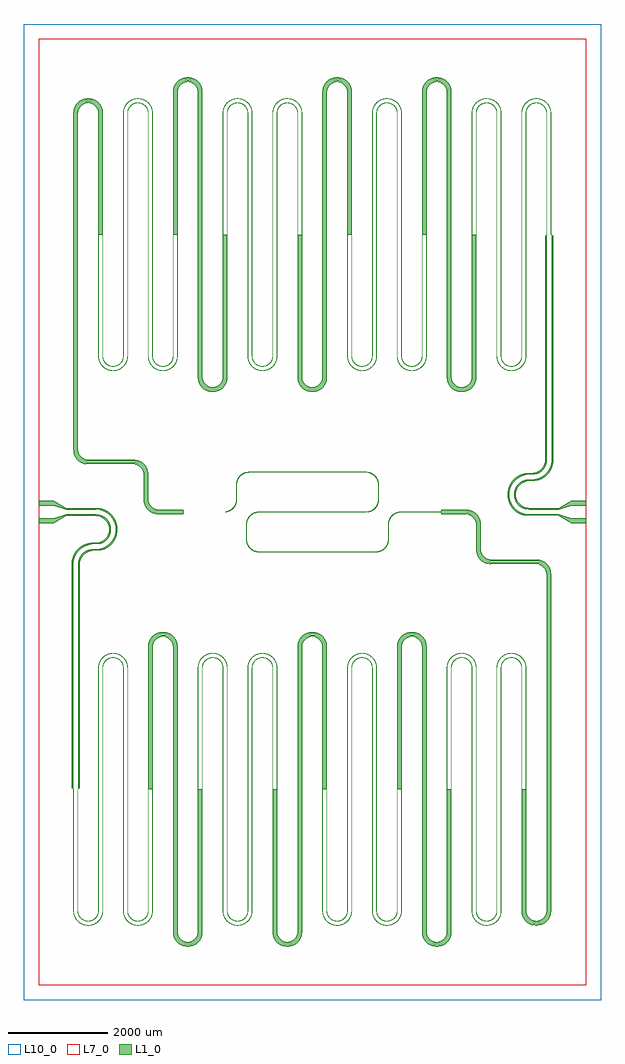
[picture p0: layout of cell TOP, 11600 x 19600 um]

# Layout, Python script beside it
import klayout.db as pya
from zeropdk.layout import layout_box
from zeropdk.layout import layout_waveguide
from zeropdk.layout import bezier_optimal
from zeropdk.layout.waveguide_rounding import layout_waveguide_from_points
import numpy as np

layout = pya.Layout()
layout.dbu = 1
TOP = layout.create_cell("TOP")

workingLayer =  pya.LayerInfo(4,0)   
chipBorder = pya.LayerInfo(7,0)
maskBorder = pya.LayerInfo(10,0)
outputLayer = pya.LayerInfo(1,0)
sourceLayer = pya.LayerInfo(3,0)
portsLayer = pya.LayerInfo(2,0)

ex = pya.DVector(1,0)
ey = pya.DVector(0,1)

upperRegion = pya.Region()
lowerRegion = pya.Region()
feedlineRegion = pya.Region()
lowZRegion = pya.Region()
highZRegion = pya.Region()

#insert chip/mask border
chipWidth = 11000
chipLength = 19000
layout_box(TOP, chipBorder, -chipLength/2*ey, chipWidth*ex + chipLength/2*ey, ex)

maskWidth = 11600
maskHeight = 19600
layout_box(TOP, maskBorder, -300*ex - maskHeight/2*ey, (chipWidth+300)*ex + maskHeight/2*ey, ex)

upperWGBondPadHeight = 450
upperWGBondPadLength = 300
lowerWGBondPadHeight = upperWGBondPadHeight - 200
lowerWGBondPadLength = upperWGBondPadLength
upperRegionFeedlineWidth = 160
lowerRegionFeedlineWidth = 100
introFeedlineLength = 600
feedlineBendRadius = 350

#creating bond pad boxed on left
upperRegion.insert(layout_box(TOP, workingLayer, -(upperWGBondPadHeight/2)*ey, (upperWGBondPadLength)*ex + (upperWGBondPadHeight/2)*ey, ex))
lowerRegion.insert(layout_box(TOP, workingLayer, -(lowerWGBondPadHeight/2)*ey, (lowerWGBondPadLength)*ex + (lowerWGBondPadHeight/2)*ey, ex))
deltaY = 0
#-------------------------------------BEGIN FEED LINE-------------------------------------------------------------------------------------------#

#bond pad tapers
taperPoints = [300*ex, 425*ex, 550*ex]
upperTaperWidths = [450, 305, 160]
lowerTaperWidths = [250, 175, 100]
upperRegion.insert(layout_waveguide(TOP, workingLayer, taperPoints, upperTaperWidths))
lowerRegion.insert(layout_waveguide(TOP, workingLayer, taperPoints, lowerTaperWidths))

#CPW straight to first bend
upperRegion.insert(layout_waveguide(TOP, workingLayer, [550*ex, (550 + introFeedlineLength)*ex], upperRegionFeedlineWidth))
lowerRegion.insert(layout_waveguide(TOP, workingLayer, [550*ex, (550 + introFeedlineLength)*ex], lowerRegionFeedlineWidth))

#CPW bend on feedline
arcCoord1 = (550+introFeedlineLength) * ex
arcCoord2 = arcCoord1 - 2*feedlineBendRadius*ey
bendPoints = [arcCoord1, arcCoord1 + feedlineBendRadius*ex, arcCoord2 + feedlineBendRadius*ex, arcCoord2] 
upperRegion.insert(layout_waveguide_from_points(TOP, workingLayer, bendPoints, upperRegionFeedlineWidth, feedlineBendRadius))
lowerRegion.insert(layout_waveguide_from_points(TOP, workingLayer, bendPoints, lowerRegionFeedlineWidth, feedlineBendRadius))
deltaY = deltaY + 2*feedlineBendRadius

#CPW straight after 1st bend
upperRegion.insert(layout_waveguide(TOP, workingLayer, [arcCoord2, arcCoord2-55*ex], upperRegionFeedlineWidth))
lowerRegion.insert(layout_waveguide(TOP, workingLayer, [arcCoord2, arcCoord2-55*ex], lowerRegionFeedlineWidth))

#2nd CPW bend
bendEndPoint = arcCoord2-55*ex-(feedlineBendRadius*ex)-feedlineBendRadius*ey
bendPoints = [arcCoord2-55*ex, arcCoord2-55*ex-(feedlineBendRadius*ex), bendEndPoint]
upperRegion.insert(layout_waveguide_from_points(TOP, workingLayer, bendPoints, upperRegionFeedlineWidth, feedlineBendRadius))
lowerRegion.insert(layout_waveguide_from_points(TOP, workingLayer, bendPoints, lowerRegionFeedlineWidth, feedlineBendRadius))
deltaY = deltaY + feedlineBendRadius

#end feedline with straight
upperRegion.insert(layout_waveguide(TOP, workingLayer, [bendEndPoint, bendEndPoint-4500*ey], upperRegionFeedlineWidth, feedlineBendRadius))
lowerRegion.insert(layout_waveguide(TOP, workingLayer, [bendEndPoint, bendEndPoint-4500*ey], lowerRegionFeedlineWidth, feedlineBendRadius))
feedlineEndPoint = bendEndPoint - 4500*ey
deltaY = deltaY + 4500

#Bragg mirrors
braggPinW = 80
braggNegW = 5
upperRegionBraggPinW = 80 + (2*5)
lowerRegionBraggPinW = 80
braggTaperLength = 20

#taper to Bragg mirror
taperPoints = [feedlineEndPoint, feedlineEndPoint - 10*ey, feedlineEndPoint - 20*ey]
upperTaperWidths = [160, 125, 90]
lowerTaperWidths = [lowerRegionFeedlineWidth, 90, 80]
upperRegion.insert(layout_waveguide(TOP, workingLayer, taperPoints, upperTaperWidths))
lowerRegion.insert(layout_waveguide(TOP, workingLayer, taperPoints, lowerTaperWidths))
deltaY = deltaY + 20

feedlineRegion = upperRegion - lowerRegion

#-----END FEEDLINE, BEGIN 1ST LOW Z PERIOD------------------------------------------------------------------------------------------------------------------#

#intro low Z period
lowZLength = 16993.4 #why?
braggBendRadius = 250
lowZStraightLength = lowZLength/3 - np.pi*braggBendRadius
highZLength = 13020.7
highZStraightLength = highZLength/2 - np.pi*braggBendRadius
introLowZBegin = feedlineEndPoint - (20*ey) - (lowZStraightLength/2*ey)
upperRegion.insert(layout_waveguide(TOP, workingLayer, [feedlineEndPoint - 20 * ey, feedlineEndPoint - (20*ey) - (lowZStraightLength/2*ey)], upperRegionBraggPinW))
lowerRegion.insert(layout_waveguide(TOP, workingLayer, [feedlineEndPoint - 20*ey, feedlineEndPoint - (20*ey) - (lowZStraightLength/2*ey)], lowerRegionBraggPinW))

#1st low Z bend
introLowZEnd = introLowZBegin + 2*braggBendRadius*ex
bendPoints = [introLowZBegin, introLowZBegin - braggBendRadius*ey, introLowZEnd - braggBendRadius*ey, introLowZEnd]
upperRegion.insert(layout_waveguide_from_points(TOP, workingLayer, bendPoints, upperRegionBraggPinW, braggBendRadius))
lowerRegion.insert(layout_waveguide_from_points(TOP, workingLayer, bendPoints, lowerRegionBraggPinW, braggBendRadius))
upperRegion.insert(layout_waveguide(TOP, workingLayer, [introLowZEnd, introLowZEnd + lowZStraightLength*ey], upperRegionBraggPinW))
lowerRegion.insert(layout_waveguide(TOP, workingLayer, [introLowZEnd, introLowZEnd + lowZStraightLength*ey], lowerRegionBraggPinW))

#2nd low Z bend
secondLowZBendBegin = introLowZEnd + lowZStraightLength * ey
secondLowZBendEnd = secondLowZBendBegin + 2*braggBendRadius * ex
bendPoints = [secondLowZBendBegin, secondLowZBendBegin + braggBendRadius*ey, secondLowZBendEnd+braggBendRadius*ey, secondLowZBendEnd]
upperRegion.insert(layout_waveguide_from_points(TOP, workingLayer, bendPoints, upperRegionBraggPinW, braggBendRadius))
lowerRegion.insert(layout_waveguide_from_points(TOP, workingLayer, bendPoints, lowerRegionBraggPinW, braggBendRadius))
upperRegion.insert(layout_waveguide(TOP, workingLayer, [secondLowZBendEnd, secondLowZBendEnd - lowZStraightLength*ey], upperRegionBraggPinW))
lowerRegion.insert(layout_waveguide(TOP, workingLayer, [secondLowZBendEnd, secondLowZBendEnd - lowZStraightLength*ey], lowerRegionBraggPinW))

#3rd low Z bend
thirdLowZBendBegin = introLowZEnd + 2*braggBendRadius*ex
thirdLowZBendEnd = thirdLowZBendBegin + 2*braggBendRadius*ex
bendPoints = [thirdLowZBendBegin, thirdLowZBendBegin - braggBendRadius*ey, thirdLowZBendEnd - braggBendRadius*ey, thirdLowZBendEnd]
upperRegion.insert(layout_waveguide_from_points(TOP, workingLayer, bendPoints, upperRegionBraggPinW, braggBendRadius))
lowerRegion.insert(layout_waveguide_from_points(TOP, workingLayer, bendPoints, lowerRegionBraggPinW, braggBendRadius))
upperRegion.insert(layout_waveguide(TOP, workingLayer, [thirdLowZBendEnd, thirdLowZBendEnd + (lowZStraightLength/2*ey)], upperRegionBraggPinW))
lowerRegion.insert(layout_waveguide(TOP, workingLayer, [thirdLowZBendEnd, thirdLowZBendEnd + (lowZStraightLength/2*ey)], lowerRegionBraggPinW))

lowZBraggRegion = upperRegion-lowerRegion-feedlineRegion

#-----------------------END 1ST LOW Z, BEGIN 1ST HIGH Z PERIOD---------------------------------------------------------------------------------------------#

#1st high Z region
firstHighZBegin = thirdLowZBendEnd + (lowZStraightLength/2*ey)
firstHighZBendBegin = firstHighZBegin + highZStraightLength/2*ey
firstHighZBendEnd = firstHighZBendBegin + 2*braggBendRadius*ex
highZNegW = 10
upperRegion.insert(layout_waveguide(TOP, workingLayer, [firstHighZBegin, firstHighZBendBegin], upperRegionBraggPinW))
lowerRegion.insert(layout_waveguide(TOP, workingLayer, [firstHighZBegin, firstHighZBendBegin], highZNegW))
bendPoints = [firstHighZBendBegin, firstHighZBendBegin + braggBendRadius*ey, firstHighZBendEnd + braggBendRadius*ey, firstHighZBendEnd]
upperRegion.insert(layout_waveguide_from_points(TOP, workingLayer, bendPoints, upperRegionBraggPinW, braggBendRadius))
lowerRegion.insert(layout_waveguide_from_points(TOP, workingLayer, bendPoints, highZNegW, braggBendRadius))
secondHighZBendBegin = firstHighZBendEnd - highZStraightLength*ey
upperRegion.insert(layout_waveguide(TOP, workingLayer, [firstHighZBendEnd, secondHighZBendBegin], upperRegionBraggPinW))
lowerRegion.insert(layout_waveguide(TOP, workingLayer, [firstHighZBendEnd, secondHighZBendBegin], highZNegW))
secondHighZBendEnd = secondHighZBendBegin + 2*braggBendRadius*ex
bendPoints = [secondHighZBendBegin, secondHighZBendBegin - braggBendRadius*ey, secondHighZBendEnd - braggBendRadius*ey, secondHighZBendEnd]
upperRegion.insert(layout_waveguide_from_points(TOP, workingLayer, bendPoints, upperRegionBraggPinW, braggBendRadius))
lowerRegion.insert(layout_waveguide_from_points(TOP, workingLayer, bendPoints, highZNegW, braggBendRadius))
firstHighZRegionEnd = secondHighZBendEnd + highZStraightLength/2*ey
upperRegion.insert(layout_waveguide(TOP, workingLayer, [secondHighZBendEnd, firstHighZRegionEnd], upperRegionBraggPinW))
lowerRegion.insert(layout_waveguide(TOP, workingLayer, [secondHighZBendEnd, firstHighZRegionEnd], highZNegW))

highZBraggRegion = upperRegion-lowerRegion-feedlineRegion-lowZBraggRegion

#end of Bragg - cavity feedline
highZHoriz = 911
highZVert = 4320
highZAdjust = 2413+25
highZEndVert = 500

cavityFeedBegin = feedlineEndPoint - (20*ey) + 36*braggBendRadius*ex
cavityFeedBendBegin = cavityFeedBegin - lowZStraightLength/2*ey
cavityFeedBendEnd = cavityFeedBendBegin + 2*braggBendRadius*ex
bendPoints = [cavityFeedBendBegin, cavityFeedBendBegin - braggBendRadius*ey, cavityFeedBendEnd - braggBendRadius*ey, cavityFeedBendEnd]
upperRegion.insert(layout_waveguide(TOP, workingLayer, [cavityFeedBegin, cavityFeedBendBegin], upperRegionBraggPinW))
lowerRegion.insert(layout_waveguide(TOP, workingLayer, [cavityFeedBegin, cavityFeedBendBegin], highZNegW))
upperRegion.insert(layout_waveguide_from_points(TOP, workingLayer, bendPoints, upperRegionBraggPinW, braggBendRadius))
lowerRegion.insert(layout_waveguide_from_points(TOP, workingLayer, bendPoints, highZNegW, braggBendRadius))
cavityFeedStraightEnd = cavityFeedBendEnd + (highZVert + highZAdjust)*ey
upperRegion.insert(layout_waveguide(TOP, workingLayer, [cavityFeedBendEnd, cavityFeedStraightEnd], upperRegionBraggPinW))
lowerRegion.insert(layout_waveguide(TOP, workingLayer, [cavityFeedBendEnd, cavityFeedStraightEnd], highZNegW))

cavityFeedFirstBendEnd = cavityFeedStraightEnd - braggBendRadius*ex + braggBendRadius*ey
bendPoints = [cavityFeedStraightEnd, cavityFeedStraightEnd + braggBendRadius*ey, cavityFeedFirstBendEnd]
upperRegion.insert(layout_waveguide_from_points(TOP, workingLayer, bendPoints, upperRegionBraggPinW, braggBendRadius))
lowerRegion.insert(layout_waveguide_from_points(TOP, workingLayer, bendPoints, highZNegW, braggBendRadius))

secondBendCavityBegin = cavityFeedFirstBendEnd - highZHoriz*ex
secondBendCavityEnd = secondBendCavityBegin - braggBendRadius*ex + braggBendRadius*ey
bendPoints = [secondBendCavityBegin, secondBendCavityBegin - braggBendRadius*ex, secondBendCavityEnd]
upperRegion.insert(layout_waveguide(TOP, workingLayer, [cavityFeedFirstBendEnd, secondBendCavityBegin], upperRegionBraggPinW))
lowerRegion.insert(layout_waveguide(TOP, workingLayer, [cavityFeedFirstBendEnd, secondBendCavityBegin], highZNegW))
upperRegion.insert(layout_waveguide_from_points(TOP, workingLayer, bendPoints, upperRegionBraggPinW, braggBendRadius))
lowerRegion.insert(layout_waveguide_from_points(TOP, workingLayer, bendPoints, highZNegW, braggBendRadius))

vertStraightEnd = secondBendCavityEnd + highZEndVert*ey
upperRegion.insert(layout_waveguide(TOP, workingLayer, [secondBendCavityEnd, vertStraightEnd], upperRegionBraggPinW))
lowerRegion.insert(layout_waveguide(TOP, workingLayer, [secondBendCavityEnd, vertStraightEnd], highZNegW))

thirdBendEnd = vertStraightEnd + braggBendRadius*ey - braggBendRadius*ex
bendPoints = [vertStraightEnd, vertStraightEnd + braggBendRadius*ey, thirdBendEnd]
upperRegion.insert(layout_waveguide_from_points(TOP, workingLayer, bendPoints, upperRegionBraggPinW, braggBendRadius))
lowerRegion.insert(layout_waveguide_from_points(TOP, workingLayer, bendPoints, highZNegW, braggBendRadius))

cavityFeedlineEnd = thirdBendEnd - highZEndVert*ex
upperRegion.insert(layout_waveguide(TOP, workingLayer, [thirdBendEnd, cavityFeedlineEnd], upperRegionBraggPinW))
lowerRegion.insert(layout_waveguide(TOP, workingLayer, [thirdBendEnd, cavityFeedlineEnd], highZNegW))

#cavity to Bragg taper
taperPoints = [cavityFeedlineEnd, cavityFeedlineEnd - 5*ex]
upperTaperWidths = [upperRegionBraggPinW, 11]
lowerTaperWidths = [highZNegW, 3]
upperRegion.insert(layout_waveguide(TOP, workingLayer, taperPoints, upperTaperWidths))
lowerRegion.insert(layout_waveguide(TOP, workingLayer, taperPoints, lowerTaperWidths))

cavityFeedlineRegion = upperRegion-lowerRegion-feedlineRegion-lowZBraggRegion-highZBraggRegion

#--------------------CAVITY---------------------------------------------------------------------------------------------------------------------------------#
La = 804    #from KRoh, figure out why
Lv = 300
cavityStraightLength = 2350
Lh = 2150

cavityIntroEnd = cavityFeedlineEnd - 5*ex - La*ex
upperPinW = 11
cPinW = 3

layout_path(TOP, portsLayer, [cavityFeedlineEnd - 5*ex - 10*ey, cavityFeedlineEnd - 5*ex + 10*ey], 0)

upperRegion.insert(layout_waveguide(TOP, workingLayer, [cavityFeedlineEnd - 5*ex, cavityIntroEnd], upperPinW))
lowerRegion.insert(layout_waveguide(TOP, workingLayer, [cavityFeedlineEnd - 5*ex, cavityIntroEnd], cPinW))
bendPoints = [cavityIntroEnd, cavityIntroEnd - braggBendRadius*ex, cavityIntroEnd - braggBendRadius*ex - braggBendRadius*ey]
upperRegion.insert(layout_waveguide_from_points(TOP, workingLayer, bendPoints, upperPinW, braggBendRadius))
lowerRegion.insert(layout_waveguide_from_points(TOP, workingLayer, bendPoints, cPinW, braggBendRadius))
cavityVertEnd = cavityIntroEnd - braggBendRadius*ex - braggBendRadius*ey - Lv*ey
upperRegion.insert(layout_waveguide_from_points(TOP, workingLayer, [cavityIntroEnd - braggBendRadius*ex - braggBendRadius*ey, cavityVertEnd], upperPinW, braggBendRadius))
lowerRegion.insert(layout_waveguide_from_points(TOP, workingLayer, [cavityIntroEnd - braggBendRadius*ex - braggBendRadius*ey, cavityVertEnd], cPinW, braggBendRadius))
bendPoints = [cavityVertEnd, cavityVertEnd-braggBendRadius*ey, cavityVertEnd-braggBendRadius*ey-braggBendRadius*ex]
upperRegion.insert(layout_waveguide_from_points(TOP, workingLayer, bendPoints, upperPinW, braggBendRadius))
lowerRegion.insert(layout_waveguide_from_points(TOP, workingLayer, bendPoints, cPinW, braggBendRadius))
cavityStraightBegin = cavityVertEnd - braggBendRadius*ey-braggBendRadius*ex
cavityStraightEnd = cavityStraightBegin - cavityStraightLength*ex
upperRegion.insert(layout_waveguide(TOP, workingLayer, [cavityStraightBegin, cavityStraightEnd], upperPinW))
lowerRegion.insert(layout_waveguide(TOP, workingLayer, [cavityStraightBegin, cavityStraightEnd], cPinW))
bendPoints = [cavityStraightEnd, cavityStraightEnd - braggBendRadius*ex, cavityStraightEnd - braggBendRadius*ex + braggBendRadius*ey]
upperRegion.insert(layout_waveguide_from_points(TOP, workingLayer, bendPoints, upperPinW, braggBendRadius))
lowerRegion.insert(layout_waveguide_from_points(TOP, workingLayer, bendPoints, cPinW, braggBendRadius))
cavityStraightBegin = cavityStraightEnd - braggBendRadius*ex + braggBendRadius*ey
cavityStraightEnd = cavityStraightBegin + Lv*ey
upperRegion.insert(layout_waveguide(TOP, workingLayer, [cavityStraightBegin, cavityStraightEnd], upperPinW))
lowerRegion.insert(layout_waveguide(TOP, workingLayer, [cavityStraightBegin, cavityStraightEnd], cPinW))
bendPoints = [cavityStraightEnd, cavityStraightEnd + braggBendRadius*ey, cavityStraightEnd + braggBendRadius*ex + braggBendRadius*ey]
upperRegion.insert(layout_waveguide_from_points(TOP, workingLayer, bendPoints, upperPinW, braggBendRadius))
lowerRegion.insert(layout_waveguide_from_points(TOP, workingLayer, bendPoints, cPinW, braggBendRadius))

cavityHorizBegin = cavityStraightEnd + braggBendRadius*ex + braggBendRadius*ey
cavityHorizEnd = cavityHorizBegin + Lh*ex
upperRegion.insert(layout_waveguide(TOP, workingLayer, [cavityHorizBegin, cavityHorizEnd], upperPinW)) 
lowerRegion.insert(layout_waveguide(TOP, workingLayer, [cavityHorizBegin, cavityHorizEnd], cPinW))

cavityStraightBegin = cavityHorizEnd + braggBendRadius*ex + braggBendRadius*ey
bendPoints = [cavityHorizEnd, cavityHorizEnd + braggBendRadius*ex, cavityStraightBegin]
upperRegion.insert(layout_waveguide_from_points(TOP, workingLayer, bendPoints, upperPinW, braggBendRadius))
lowerRegion.insert(layout_waveguide_from_points(TOP, workingLayer, bendPoints, cPinW, braggBendRadius))

cavityStraightEnd = cavityStraightBegin + Lv*ey
upperRegion.insert(layout_waveguide(TOP, workingLayer, [cavityStraightBegin, cavityStraightEnd], upperPinW))
lowerRegion.insert(layout_waveguide(TOP, workingLayer, [cavityStraightBegin, cavityStraightEnd], cPinW))

cavityStraightBegin = cavityStraightEnd + braggBendRadius*ey - braggBendRadius*ex
bendPoints = [cavityStraightEnd, cavityStraightEnd + braggBendRadius*ey, cavityStraightBegin]
upperRegion.insert(layout_waveguide_from_points(TOP, workingLayer, bendPoints, upperPinW, braggBendRadius))
lowerRegion.insert(layout_waveguide_from_points(TOP, workingLayer, bendPoints, cPinW, braggBendRadius))

cavityStraightEnd = cavityStraightBegin - cavityStraightLength*ex
upperRegion.insert(layout_waveguide(TOP, workingLayer, [cavityStraightBegin, cavityStraightEnd], upperPinW))
lowerRegion.insert(layout_waveguide(TOP, workingLayer, [cavityStraightBegin, cavityStraightEnd], cPinW))

cavityStraightBegin = cavityStraightEnd - braggBendRadius*ex - braggBendRadius*ey
bendPoints = [cavityStraightEnd, cavityStraightEnd - braggBendRadius*ex, cavityStraightBegin]
upperRegion.insert(layout_waveguide_from_points(TOP, workingLayer, bendPoints, upperPinW, braggBendRadius))
lowerRegion.insert(layout_waveguide_from_points(TOP, workingLayer, bendPoints, cPinW, braggBendRadius))

cavityStraightEnd = cavityStraightBegin - Lv*ey + 1.5*ey
upperRegion.insert(layout_waveguide(TOP, workingLayer, [cavityStraightBegin, cavityStraightEnd], upperPinW))
lowerRegion.insert(layout_waveguide(TOP, workingLayer, [cavityStraightBegin, cavityStraightEnd], cPinW))

cavityStraightBegin = cavityStraightEnd - braggBendRadius*ex - braggBendRadius*ey
bendPoints = [cavityStraightEnd, cavityStraightEnd - braggBendRadius*ey, cavityStraightBegin]
upperRegion.insert(layout_waveguide_from_points(TOP, workingLayer, bendPoints, upperPinW, braggBendRadius))
lowerRegion.insert(layout_waveguide_from_points(TOP, workingLayer, bendPoints, cPinW, braggBendRadius))

#cheesing it
cavityStraightEnd = 2911*ex + 1.5*ey

layout_path(TOP, sourceLayer, [cavityStraightEnd -10*ex - 10 * ey, cavityStraightEnd -10*ex + 10 * ey], 0)
layout_path(TOP, portsLayer, [cavityStraightEnd - 10*ey, cavityStraightEnd + 10*ey], 0)

upperRegion.insert(layout_waveguide(TOP, workingLayer, [cavityStraightBegin, cavityStraightEnd], upperPinW))
lowerRegion.insert(layout_waveguide(TOP, workingLayer, [cavityStraightBegin, cavityStraightEnd], cPinW))

cavityRegion = upperRegion-lowerRegion-feedlineRegion-lowZBraggRegion-highZBraggRegion-cavityFeedlineRegion

#-----TRANSFORM 1ST HIGH Z, LOW Z TO NEW POSITIONS----------------------------------------------------------------------------------------------------------#
TOP.shapes(outputLayer).insert(feedlineRegion)
tFeed = pya.DCplxTrans(1, 180, False, 11000-10, 0)
translatedFeed = feedlineRegion.transformed(tFeed)
TOP.shapes(outputLayer).insert(translatedFeed)

TOP.shapes(outputLayer).insert(lowZBraggRegion)
tLow1 = pya.DCplxTrans(1, 0, 'true', 10*braggBendRadius, -2*deltaY)
translatedLow1 = lowZBraggRegion.transformed(tLow1)
tLow2 = pya.DCplxTrans(1, 0, 'false', 30*braggBendRadius, -2*deltaY)
translatedLow2 = lowZBraggRegion.transformed(tLow2)
tLow3 = pya.DCplxTrans(1, 0, 'false', 10*braggBendRadius, -2*deltaY)
translatedLow3 = translatedLow1.transformed(tLow3)
TOP.shapes(outputLayer).insert(translatedLow1)
TOP.shapes(outputLayer).insert(translatedLow2)
TOP.shapes(outputLayer).insert(translatedLow3)

TOP.shapes(outputLayer).insert(highZBraggRegion)
tHigh = pya.DCplxTrans(1,0, 'true', 10*braggBendRadius, -2*deltaY)
translatedHigh = highZBraggRegion.transformed(tHigh)
tHigh2 = pya.DCplxTrans(1, 0, 'true', 10*braggBendRadius, -2*deltaY)
translatedHigh2 = translatedHigh.transformed(tHigh2)
TOP.shapes(outputLayer).insert(translatedHigh)
TOP.shapes(outputLayer).insert(translatedHigh2)

#create/transform Bragg region, why the hell isn't this working
braggRegion = lowZBraggRegion + highZBraggRegion + translatedLow1 + translatedLow2 + translatedLow3 + translatedHigh + translatedHigh2
tBragg = pya.DCplxTrans(2*braggBendRadius, 2*deltaY)
translatedBragg = braggRegion.transformed(tBragg)
TOP.shapes(outputLayer).insert(translatedBragg)

TOP.shapes(outputLayer).insert(cavityFeedlineRegion)
tCavity = pya.DCplxTrans(1, 180, False, 11000-10, 0)
translatedCavity = cavityFeedlineRegion.transformed(tCavity)
TOP.shapes(outputLayer).insert(translatedCavity)

TOP.shapes(outputLayer).insert(cavityRegion)

print(deltaY)
print(2*deltaY)

layout.write('project.gds')
del layout, TOP
